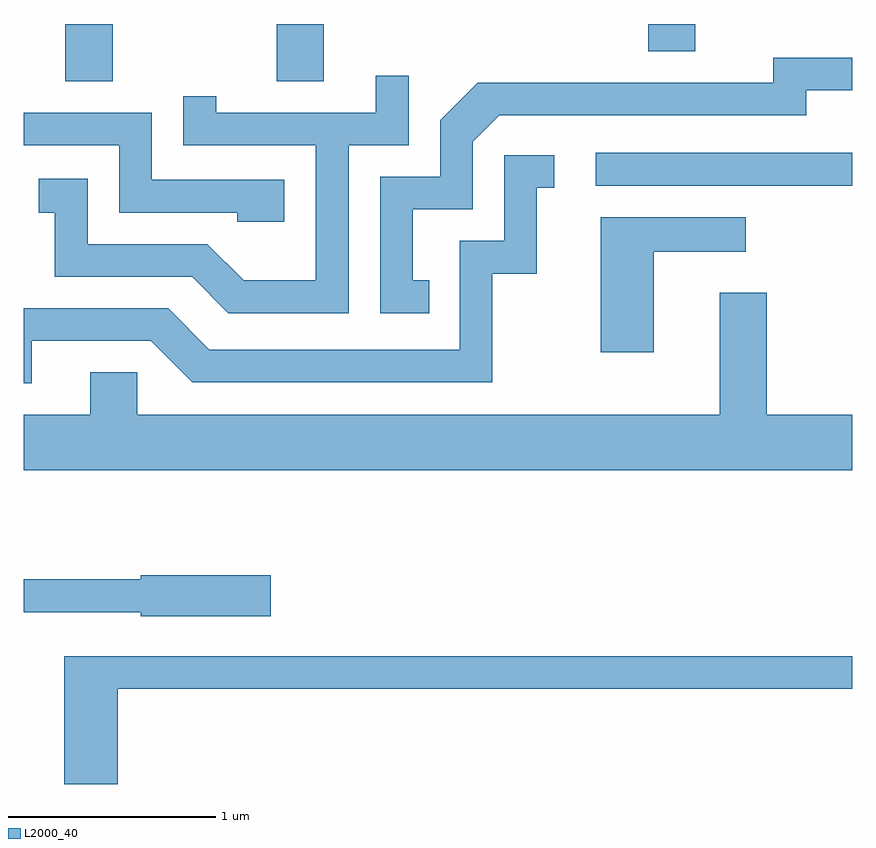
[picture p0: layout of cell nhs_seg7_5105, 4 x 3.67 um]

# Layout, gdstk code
import gdstk
lib = gdstk.Library(unit=1e-6, precision=1e-09)
def R(c, l, rs):  # rectangles x0, y0, x1, y1
    for r in rs: c.add(gdstk.rectangle(r[:2], r[2:], *l))
def P(c, l, *ps):  # polygons
    for p in ps: c.add(gdstk.Polygon(p, *l))
L2000_40 = (2000, 40)

nhs_seg7_5105 = lib.new_cell('nhs_seg7_5105')
R(nhs_seg7_5105, L2000_40, [(344.373,1713.471,345.611,1713.629), (341.811,1713.976,342.039,1714.252), (342.831,1713.976,343.059,1714.252), (344.626,1714.121,344.854,1714.252)])
P(nhs_seg7_5105, L2000_40, [(343.568,1713.014),(343.489,1713.014),(343.489,1713.356),(343.779,1713.356),(343.779,1713.684),(343.907,1713.811),(345.389,1713.811),(345.389,1713.931),(345.611,1713.931),(345.611,1714.089),(345.231,1714.089),(345.231,1713.969),(343.804,1713.969),(343.621,1713.787),(343.621,1713.514),(343.331,1713.514),(343.331,1712.856),(343.568,1712.856)],
  [(343.179,1713.666),(343.469,1713.666),(343.469,1714.003),(343.311,1714.003),(343.311,1713.824),(342.539,1713.824),(342.539,1713.903),(342.381,1713.903),(342.381,1713.666),(343.021,1713.666),(343.021,1713.014),(342.672,1713.014),(342.497,1713.189),(341.919,1713.189),(341.919,1713.504),(341.683,1713.504),(341.683,1713.341),(341.761,1713.341),(341.761,1713.031),(342.424,1713.031),(342.599,1712.856),(343.179,1712.856)],
  [(342.869,1713.499),(342.229,1713.499),(342.229,1713.824),(341.611,1713.824),(341.611,1713.666),(342.071,1713.666),(342.071,1713.341),(342.641,1713.341),(342.641,1713.296),(342.869,1713.296)],
  [(341.649,1712.721),(342.224,1712.721),(342.424,1712.521),(343.874,1712.521),(343.874,1713.046),(344.089,1713.046),(344.089,1713.461),(344.173,1713.461),(344.173,1713.619),(343.931,1713.619),(343.931,1713.204),(343.716,1713.204),(343.716,1712.679),(342.507,1712.679),(342.307,1712.879),(341.611,1712.879),(341.611,1712.516),(341.649,1712.516)],
  [(344.654,1713.151),(345.098,1713.151),(345.098,1713.319),(344.396,1713.319),(344.396,1712.666),(344.654,1712.666)],
  [(344.971,1712.954),(344.971,1712.364),(342.159,1712.364),(342.159,1712.569),(341.931,1712.569),(341.931,1712.364),(341.611,1712.364),(341.611,1712.096),(345.611,1712.096),(345.611,1712.364),(345.199,1712.364),(345.199,1712.954)],
  [(342.804,1711.589),(342.176,1711.589),(342.176,1711.569),(341.611,1711.569),(341.611,1711.411),(342.176,1711.411),(342.176,1711.391),(342.804,1711.391)],
  [(342.064,1711.041),(345.611,1711.041),(345.611,1711.199),(341.806,1711.199),(341.806,1710.581),(342.064,1710.581)])

lib.write_gds('nhs_seg7_5105.gds')
